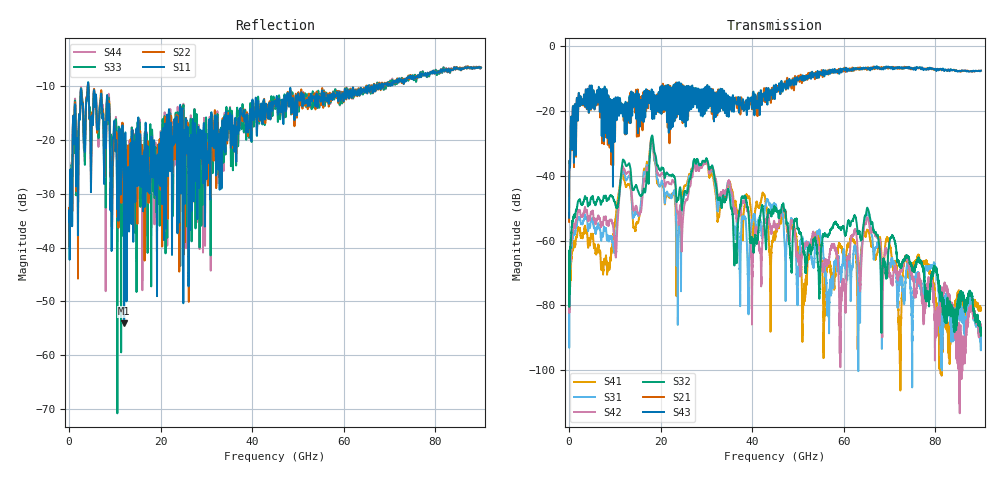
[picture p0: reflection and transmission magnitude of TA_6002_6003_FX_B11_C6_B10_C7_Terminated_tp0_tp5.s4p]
!Touchstone File created by Channel Assembly Engine (Version 2.0.0_Beta1)
!Current time:  2022 6/29 11:36:59
# Hz S RI R 50
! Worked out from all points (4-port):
!   9000 points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, 10 MHz to 90 GHz, reference 50 ohm
!   strongest paths, dB at 10 MHz, 22.51 GHz, 45.01 GHz, 67.51 GHz, 90 GHz:
!     S43: -52.9, -15.5, -15.9, -6.9, -7.5
!     S21: -54.2, -13.6, -13.7, -6.7, -7.5
!     S32: -67.9, -39.8, -50.5, -58.7, -89.1
!     S42: -67.3, -41.6, -55.9, -58.7, -88.7
!     S31: -67.6, -46.2, -49.3, -60.5, -93.8
!     S41: -76.0, -45.5, -59.8, -62.5, -81.5
!   lowest |S11| = -54.1 dB at 12.04 GHz (marker M1), VSWR 1.00, Z = 50.2 - j0.12 ohm
!   |S11| at or under -10 dB: start of sweep to 4.077 GHz; 4.259 GHz to 65.34 GHz (61.08 GHz wide, 176 % of centre); 65.47 GHz to 66.52 GHz (1.046 GHz wide, 1.59 % of centre) (the widest 3 of 7)
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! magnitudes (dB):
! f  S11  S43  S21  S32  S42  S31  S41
! 10 MHz  -33.7  -52.9  -54.2  -67.9  -67.3  -67.6  -76.0
! 2.09 GHz  -17.9  -14.6  -15.1  -47.7  -50.9  -53.0  -56.5
! 8.63 GHz  -14.5  -15.7  -15.6  -47.4  -55.4  -59.6  -67.8
! 12.04 GHz  -54.1  -19.1  -19.4  -35.3  -37.9  -39.1  -41.0
! 42.47 GHz  -13.2  -15.5  -15.4  -51.9  -56.6  -55.1  -45.8
! 51.32 GHz  -12.1  -10.4  -10.5  -63.7  -62.2  -61.8  -74.4
! 90 GHz  -6.5  -7.5  -7.5  -89.1  -88.7  -93.8  -81.5
